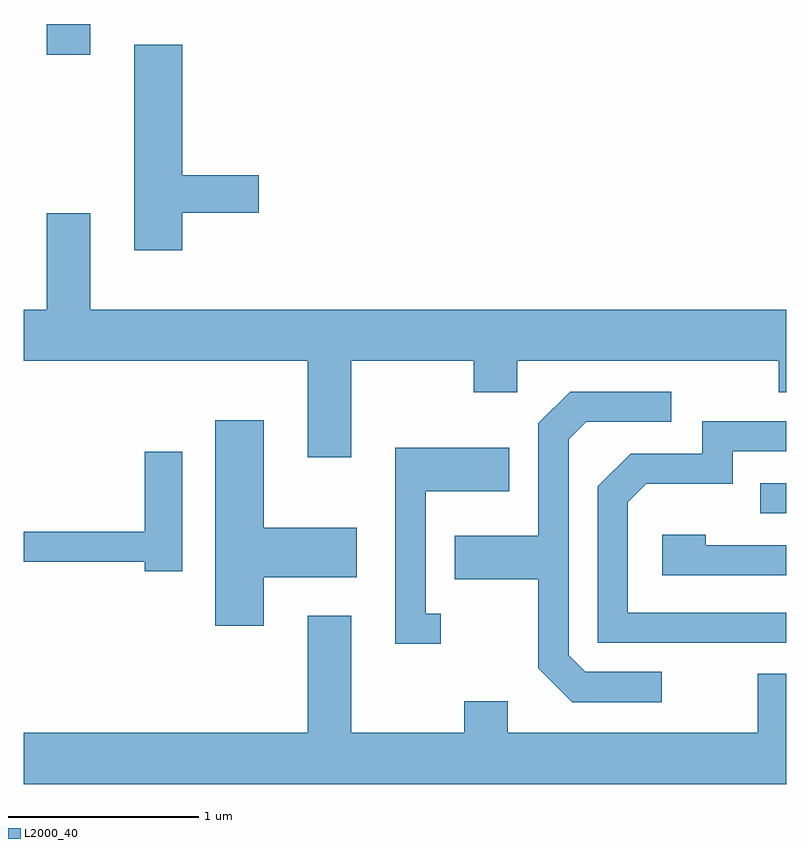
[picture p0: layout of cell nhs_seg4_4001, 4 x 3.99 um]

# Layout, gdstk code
import gdstk
lib = gdstk.Library(unit=1e-6, precision=1e-09)
def R(c, l, rs):  # rectangles x0, y0, x1, y1
    for r in rs: c.add(gdstk.rectangle(r[:2], r[2:], *l))
def P(c, l, *ps):  # polygons
    for p in ps: c.add(gdstk.Polygon(p, *l))
L2000_40 = (2000, 40)

nhs_seg4_4001 = lib.new_cell('nhs_seg4_4001')
R(nhs_seg4_4001, L2000_40, [(305.473,1369.416,305.611,1369.574), (301.731,1371.821,301.959,1371.982)])
P(nhs_seg4_4001, L2000_40, [(302.444,1370.991),(302.844,1370.991),(302.844,1371.189),(302.444,1371.189),(302.444,1371.874),(302.191,1371.874),(302.191,1370.796),(302.444,1370.796)],
  [(303.329,1370.216),(303.971,1370.216),(303.971,1370.051),(304.199,1370.051),(304.199,1370.216),(305.571,1370.216),(305.571,1370.051),(305.611,1370.051),(305.611,1370.484),(301.959,1370.484),(301.959,1370.989),(301.731,1370.989),(301.731,1370.484),(301.611,1370.484),(301.611,1370.216),(303.101,1370.216),(303.101,1369.711),(303.329,1369.711)],
  [(304.958,1368.584),(304.557,1368.584),(304.469,1368.672),(304.469,1369.804),(304.562,1369.896),(305.008,1369.896),(305.008,1370.054),(304.479,1370.054),(304.311,1369.887),(304.311,1369.299),(303.871,1369.299),(303.871,1369.071),(304.311,1369.071),(304.311,1368.604),(304.489,1368.426),(304.958,1368.426)],
  [(302.869,1369.081),(303.359,1369.081),(303.359,1369.339),(302.869,1369.339),(302.869,1369.904),(302.616,1369.904),(302.616,1368.826),(302.869,1368.826)],
  [(305.611,1368.894),(304.779,1368.894),(304.779,1369.474),(304.877,1369.571),(305.329,1369.571),(305.329,1369.741),(305.611,1369.741),(305.611,1369.899),(305.171,1369.899),(305.171,1369.729),(304.794,1369.729),(304.621,1369.557),(304.621,1368.736),(305.611,1368.736)],
  [(303.798,1368.889),(303.719,1368.889),(303.719,1369.531),(304.159,1369.531),(304.159,1369.759),(303.561,1369.759),(303.561,1368.731),(303.798,1368.731)],
  [(302.444,1369.739),(302.246,1369.739),(302.246,1369.319),(301.611,1369.319),(301.611,1369.161),(302.246,1369.161),(302.246,1369.111),(302.444,1369.111)],
  [(305.611,1369.249),(305.189,1369.249),(305.189,1369.304),(304.961,1369.304),(304.961,1369.091),(305.611,1369.091)],
  [(303.921,1368.429),(303.921,1368.264),(303.329,1368.264),(303.329,1368.879),(303.101,1368.879),(303.101,1368.264),(301.611,1368.264),(301.611,1367.996),(305.611,1367.996),(305.611,1368.574),(305.461,1368.574),(305.461,1368.264),(304.149,1368.264),(304.149,1368.429)])

lib.write_gds('nhs_seg4_4001.gds')
